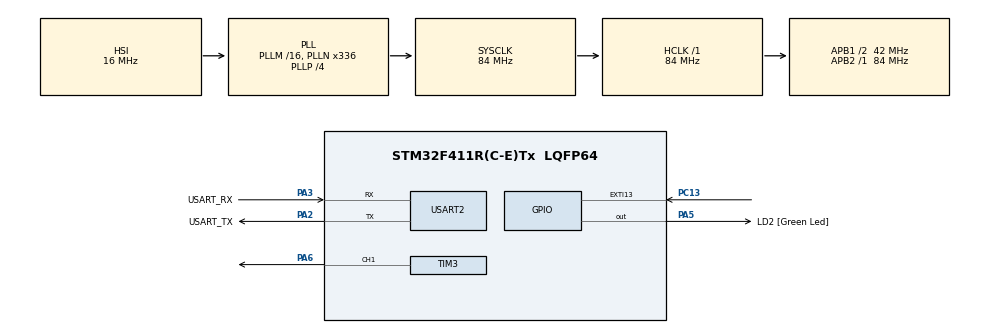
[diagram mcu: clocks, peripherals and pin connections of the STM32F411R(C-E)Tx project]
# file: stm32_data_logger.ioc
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ADC1.Channel-1\#ChannelRegularConversion=ADC_CHANNEL_TEMPSENSOR
ADC1.ExternalTrigConv=ADC_EXTERNALTRIGCONV_T2_TRGO
ADC1.NbrOfConversionFlag=1
ADC1.Rank-1\#ChannelRegularConversion=1
ADC1.SamplingTime-1\#ChannelRegularConversion=ADC_SAMPLETIME_480CYCLES
ADC1.master=1
Mcu.Family=STM32F4
Mcu.Name=STM32F411R(C-E)Tx
Mcu.Package=LQFP64
NVIC.PriorityGroup=NVIC_PRIORITYGROUP_0
PA13.GPIO_Label=TMS
PA13.Mode=Serial_Wire
PA13.Signal=SYS_JTMS-SWDIO
PA14.GPIO_Label=TCK
PA14.Mode=Serial_Wire
PA14.Signal=SYS_JTCK-SWCLK
PA2.GPIO_Label=USART_TX
PA2.Mode=Asynchronous
PA2.Signal=USART2_TX
PA3.GPIO_Label=USART_RX
PA3.Mode=Asynchronous
PA3.Signal=USART2_RX
PA5.GPIO_Label=LD2 [Green Led]
PA5.Signal=GPIO_Output
PA6.Signal=S_TIM3_CH1
PB3.GPIO_Label=SWO
PB3.Signal=SYS_JTDO-SWO
PC13-ANTI_TAMP.GPIO_ModeDefaultEXTI=GPIO_MODE_IT_FALLING
PC13-ANTI_TAMP.Signal=GPXTI13
PC14-OSC32_IN.Mode=LSE-External-Oscillator
PC14-OSC32_IN.Signal=RCC_OSC32_IN
PC15-OSC32_OUT.Mode=LSE-External-Oscillator
PC15-OSC32_OUT.Signal=RCC_OSC32_OUT
PH0\ -\ OSC_IN.Mode=HSE-External-Clock-Source
PH0\ -\ OSC_IN.Signal=RCC_OSC_IN
PH1\ -\ OSC_OUT.Mode=HSE-External-Clock-Source
PH1\ -\ OSC_OUT.Signal=RCC_OSC_OUT
ProjectManager.HeapSize=0x200
ProjectManager.StackSize=0x400
ProjectManager.TargetToolchain=STM32CubeIDE
RCC.48MHZClocksFreq_Value=84000000
RCC.AHBFreq_Value=84000000
RCC.APB1CLKDivider=RCC_HCLK_DIV2
RCC.APB1Freq_Value=42000000
RCC.APB1TimFreq_Value=84000000
RCC.APB2Freq_Value=84000000
RCC.APB2TimFreq_Value=84000000
RCC.CortexFreq_Value=84000000
RCC.FLatency-AdvancedSettings=FLASH_LATENCY_2
RCC.HCLKFreq_Value=84000000
RCC.HSE_VALUE=8000000
RCC.HSI_VALUE=16000000
RCC.PLLN=336
RCC.PLLP=RCC_PLLP_DIV4
RCC.SYSCLKFreq_VALUE=84000000
RCC.SYSCLKSource=RCC_SYSCLKSOURCE_PLLCLK
RCC.VCOOutputFreq_Value=336000000
SH.S_TIM3_CH1.0=TIM3_CH1,PWM Generation1 CH1
TIM2.Period=999
TIM2.Prescaler=8399
TIM2.TIM_MasterOutputTrigger=TIM_TRGO_UPDATE
TIM3.Channel-PWM\ Generation1\ CH1=TIM_CHANNEL_1
TIM3.Period=999
TIM3.Prescaler=83
USART2.VirtualMode=VM_ASYNC
VP_ADC1_TempSens_Input.Mode=IN-TempSens
VP_ADC1_Vref_Input.Mode=IN-Vrefint
VP_TIM2_VS_ClockSourceINT.Mode=Internal
board=NUCLEO-F411RE

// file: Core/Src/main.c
/* USER CODE BEGIN Header */
/**
  ******************************************************************************
  * @file           : main.c
  * @brief          : Main program body
  ******************************************************************************
  * @attention
  *
  * Copyright (c) 2026 STMicroelectronics.
  * All rights reserved.
  *
  * This software is licensed under terms that can be found in the LICENSE file
  * in the root directory of this software component.
  * If no LICENSE file comes with this software, it is provided AS-IS.
  *
  ******************************************************************************
  */
/* USER CODE END Header */
#include "main.h"

/* USER CODE BEGIN Includes */
#include<stdio.h>
#include<string.h>
/* USER CODE END Includes */

ADC_HandleTypeDef hadc1;

TIM_HandleTypeDef htim2;
TIM_HandleTypeDef htim3;

UART_HandleTypeDef huart2;

/* USER CODE BEGIN PV */
#define WINDOW_SIZE 8

volatile uint16_t adc_buffer[WINDOW_SIZE];
volatile uint8_t  buffer_index            = 0;
volatile uint8_t  buffer_full             = 0;   // becomes 1 once we've wrapped around once
volatile uint8_t  new_sample_ready        = 0;
volatile uint8_t  paused                  = 0;           // 0 = running, 1 = paused
volatile uint32_t last_press_time         = 0;  // remembers when we last accepted a press
volatile uint32_t sum                     = 0;
#define DEBOUNCE_MS 80
/* USER CODE END PV */

void SystemClock_Config(void);
static void MX_GPIO_Init(void);
static void MX_ADC1_Init(void);
static void MX_TIM2_Init(void);
static void MX_USART2_UART_Init(void);
static void MX_TIM3_Init(void);

int main(void)
{

  /* MCU Configuration--------------------------------------------------------*/

  /* Reset of all peripherals, Initializes the Flash interface and the Systick. */
  HAL_Init();

  /* Configure the system clock */
  SystemClock_Config();

  /* Initialize all configured peripherals */
  MX_GPIO_Init();
  MX_ADC1_Init();
  MX_TIM2_Init();
  MX_USART2_UART_Init();
  MX_TIM3_Init();
  /* USER CODE BEGIN 2 */
  ADC->CCR |= ADC_CCR_TSVREFE;     // to power up the temperature sensor from power-down mode
  HAL_TIM_Base_Start(&htim2);      // start TIM2 counting
  HAL_ADC_Start_IT(&hadc1);        // ADC conversion on trigger from TIM2
  HAL_TIM_PWM_Start(&htim3, TIM_CHANNEL_1); // start PWM output on TIM3 CH1
  /* USER CODE END 2 */

  /* Infinite loop */
  while (1)
  {

    /* USER CODE BEGIN 3 */
	  if (new_sample_ready)
	      {
	          new_sample_ready = 0;

	          if (!paused)      // if PC13 pressed not pressed
	          {

	              uint8_t count = 0;

	              if (buffer_full)
	              {
	                  count = WINDOW_SIZE;
	              }
	              else
	              {
	                  count = buffer_index; // if the buffer has not yet received at least 8 values in the beginning
	              }

	              uint16_t filtered_value = sum / count;

	              // PWM DUTY CYCLE
	              uint16_t ccr_value = ((uint32_t)filtered_value * 999) / 4095; // to compute the capture compare  value
	              __HAL_TIM_SET_COMPARE(&htim3, TIM_CHANNEL_1, ccr_value); // write the ccr_value into the Capture/Compre register in TIM3
	              uint16_t pwm_percentage =((uint32_t) ccr_value *100)/ (999+1); // duty% = CCR*100 /(ARR+1);

	              // UART TRANSMISSION
	              char uart_msg[64];
	              sprintf(uart_msg, "Filtered: %u,CCR:%u, PWM: %u%%\r\n", filtered_value, ccr_value,pwm_percentage );
	              HAL_UART_Transmit(&huart2, (uint8_t*)uart_msg, strlen(uart_msg), HAL_MAX_DELAY);
	          }
	      }

  }
  /* USER CODE END 3 */
}

void SystemClock_Config(void)
{
  RCC_OscInitTypeDef RCC_OscInitStruct = {0};
  RCC_ClkInitTypeDef RCC_ClkInitStruct = {0};

  /** Configure the main internal regulator output voltage
  */
  __HAL_RCC_PWR_CLK_ENABLE();
  __HAL_PWR_VOLTAGESCALING_CONFIG(PWR_REGULATOR_VOLTAGE_SCALE1);

  /** Initializes the RCC Oscillators according to the specified parameters
  * in the RCC_OscInitTypeDef structure.
  */
  RCC_OscInitStruct.OscillatorType = RCC_OSCILLATORTYPE_HSI;
  RCC_OscInitStruct.HSIState = RCC_HSI_ON;
  RCC_OscInitStruct.HSICalibrationValue = RCC_HSICALIBRATION_DEFAULT;
  RCC_OscInitStruct.PLL.PLLState = RCC_PLL_ON;
  RCC_OscInitStruct.PLL.PLLSource = RCC_PLLSOURCE_HSI;
  RCC_OscInitStruct.PLL.PLLM = 16;
  RCC_OscInitStruct.PLL.PLLN = 336;
  RCC_OscInitStruct.PLL.PLLP = RCC_PLLP_DIV4;
  RCC_OscInitStruct.PLL.PLLQ = 4;
  if (HAL_RCC_OscConfig(&RCC_OscInitStruct) != HAL_OK)
  {
    Error_Handler();
  }

  /** Initializes the CPU, AHB and APB buses clocks
  */
  RCC_ClkInitStruct.ClockType = RCC_CLOCKTYPE_HCLK|RCC_CLOCKTYPE_SYSCLK
                              |RCC_CLOCKTYPE_PCLK1|RCC_CLOCKTYPE_PCLK2;
  RCC_ClkInitStruct.SYSCLKSource = RCC_SYSCLKSOURCE_PLLCLK;
  RCC_ClkInitStruct.AHBCLKDivider = RCC_SYSCLK_DIV1;
  RCC_ClkInitStruct.APB1CLKDivider = RCC_HCLK_DIV2;
  RCC_ClkInitStruct.APB2CLKDivider = RCC_HCLK_DIV1;

  if (HAL_RCC_ClockConfig(&RCC_ClkInitStruct, FLASH_LATENCY_2) != HAL_OK)
  {
    Error_Handler();
  }
}

static void MX_ADC1_Init(void)
{

  ADC_ChannelConfTypeDef sConfig = {0};

  /** Configure the global features of the ADC (Clock, Resolution, Data Alignment and number of conversion)
  */
  hadc1.Instance = ADC1;
  hadc1.Init.ClockPrescaler = ADC_CLOCK_SYNC_PCLK_DIV4;
  hadc1.Init.Resolution = ADC_RESOLUTION_12B;
  hadc1.Init.ScanConvMode = DISABLE;
  hadc1.Init.ContinuousConvMode = DISABLE;
  hadc1.Init.DiscontinuousConvMode = DISABLE;
  hadc1.Init.ExternalTrigConvEdge = ADC_EXTERNALTRIGCONVEDGE_RISING;
  hadc1.Init.ExternalTrigConv = ADC_EXTERNALTRIGCONV_T2_TRGO;
  hadc1.Init.DataAlign = ADC_DATAALIGN_RIGHT;
  hadc1.Init.NbrOfConversion = 1;
  hadc1.Init.DMAContinuousRequests = DISABLE;
  hadc1.Init.EOCSelection = ADC_EOC_SINGLE_CONV;
  if (HAL_ADC_Init(&hadc1) != HAL_OK)
  {
    Error_Handler();
  }

  /** Configure for the selected ADC regular channel its corresponding rank in the sequencer and its sample time.
  */
  sConfig.Channel = ADC_CHANNEL_TEMPSENSOR;
  sConfig.Rank = 1;
  sConfig.SamplingTime = ADC_SAMPLETIME_480CYCLES;    //480 cycles so that there is enough sampling time for the temperature sensor
  if (HAL_ADC_ConfigChannel(&hadc1, &sConfig) != HAL_OK)
  {
    Error_Handler();
  }

}

static void MX_TIM2_Init(void)
{

  TIM_ClockConfigTypeDef sClockSourceConfig = {0};
  TIM_MasterConfigTypeDef sMasterConfig = {0};

  htim2.Instance = TIM2;
  htim2.Init.Prescaler = 8399;
  htim2.Init.CounterMode = TIM_COUNTERMODE_UP;
  htim2.Init.Period = 999;
  htim2.Init.ClockDivision = TIM_CLOCKDIVISION_DIV1;
  htim2.Init.AutoReloadPreload = TIM_AUTORELOAD_PRELOAD_DISABLE;
  if (HAL_TIM_Base_Init(&htim2) != HAL_OK)
  {
    Error_Handler();
  }
  sClockSourceConfig.ClockSource = TIM_CLOCKSOURCE_INTERNAL;
  if (HAL_TIM_ConfigClockSource(&htim2, &sClockSourceConfig) != HAL_OK)
  {
    Error_Handler();
  }
  sMasterConfig.MasterOutputTrigger = TIM_TRGO_UPDATE;
  sMasterConfig.MasterSlaveMode = TIM_MASTERSLAVEMODE_DISABLE;
  if (HAL_TIMEx_MasterConfigSynchronization(&htim2, &sMasterConfig) != HAL_OK)
  {
    Error_Handler();
  }

}

static void MX_TIM3_Init(void)
{

  TIM_MasterConfigTypeDef sMasterConfig = {0};
  TIM_OC_InitTypeDef sConfigOC = {0};

  htim3.Instance = TIM3;
  htim3.Init.Prescaler = 83;
  htim3.Init.CounterMode = TIM_COUNTERMODE_UP;
  htim3.Init.Period = 999;
  htim3.Init.ClockDivision = TIM_CLOCKDIVISION_DIV1;
  htim3.Init.AutoReloadPreload = TIM_AUTORELOAD_PRELOAD_DISABLE;
  if (HAL_TIM_PWM_Init(&htim3) != HAL_OK)
  {
    Error_Handler();
  }
  sMasterConfig.MasterOutputTrigger = TIM_TRGO_RESET;
  sMasterConfig.MasterSlaveMode = TIM_MASTERSLAVEMODE_DISABLE;
  if (HAL_TIMEx_MasterConfigSynchronization(&htim3, &sMasterConfig) != HAL_OK)
  {
    Error_Handler();
  }
  sConfigOC.OCMode = TIM_OCMODE_PWM1;
  sConfigOC.Pulse = 0;
  sConfigOC.OCPolarity = TIM_OCPOLARITY_HIGH;
  sConfigOC.OCFastMode = TIM_OCFAST_DISABLE;
  if (HAL_TIM_PWM_ConfigChannel(&htim3, &sConfigOC, TIM_CHANNEL_1) != HAL_OK)
  {
    Error_Handler();
  }
  HAL_TIM_MspPostInit(&htim3);

}

static void MX_USART2_UART_Init(void)
{

  huart2.Instance = USART2;
  huart2.Init.BaudRate = 115200;
  huart2.Init.WordLength = UART_WORDLENGTH_8B;
  huart2.Init.StopBits = UART_STOPBITS_1;
  huart2.Init.Parity = UART_PARITY_NONE;
  huart2.Init.Mode = UART_MODE_TX_RX;
  huart2.Init.HwFlowCtl = UART_HWCONTROL_NONE;
  huart2.Init.OverSampling = UART_OVERSAMPLING_16;
  if (HAL_UART_Init(&huart2) != HAL_OK)
  {
    Error_Handler();
  }

}

static void MX_GPIO_Init(void)
{
  GPIO_InitTypeDef GPIO_InitStruct = {0};

  /* GPIO Ports Clock Enable */
  __HAL_RCC_GPIOC_CLK_ENABLE();
  __HAL_RCC_GPIOH_CLK_ENABLE();
  __HAL_RCC_GPIOA_CLK_ENABLE();
  __HAL_RCC_GPIOB_CLK_ENABLE();

  /*Configure GPIO pin Output Level */
  HAL_GPIO_WritePin(LD2_GPIO_Port, LD2_Pin, GPIO_PIN_RESET);

  /*Configure GPIO pin : PC13 */
  GPIO_InitStruct.Pin = GPIO_PIN_13;
  GPIO_InitStruct.Mode = GPIO_MODE_IT_FALLING;
  GPIO_InitStruct.Pull = GPIO_NOPULL;
  HAL_GPIO_Init(GPIOC, &GPIO_InitStruct);

  /*Configure GPIO pin : LD2_Pin */
  GPIO_InitStruct.Pin = LD2_Pin;
  GPIO_InitStruct.Mode = GPIO_MODE_OUTPUT_PP;
  GPIO_InitStruct.Pull = GPIO_NOPULL;
  GPIO_InitStruct.Speed = GPIO_SPEED_FREQ_LOW;
  HAL_GPIO_Init(LD2_GPIO_Port, &GPIO_InitStruct);

}

/* USER CODE BEGIN 4 */
void HAL_ADC_ConvCpltCallback(ADC_HandleTypeDef *hadc)
{
    uint16_t sample = HAL_ADC_GetValue(&hadc1);   // read the converted 12-bit result out of ADC1's data register
    sum -=adc_buffer[buffer_index];
    adc_buffer[buffer_index] = sample;            // store it at the current circular-buffer slot
    sum += sample;
    buffer_index++;  // advance to next slot
    if (buffer_index >= WINDOW_SIZE)
    {
        buffer_index = 0;                          // wrap around
        buffer_full = 1;                         // we've now completed at least one full lap
    }

    new_sample_ready = 1;							// tell main new data available
}

void  HAL_GPIO_EXTI_Callback(uint16_t GPIO_Pin){
	if(GPIO_Pin == GPIO_PIN_13){ // external interrupt
		uint32_t current_press_time = HAL_GetTick();
		if ((current_press_time - last_press_time) > DEBOUNCE_MS)
		        {
		            paused = !paused;
		            last_press_time = current_press_time;
		        }

	}
}
/* USER CODE END 4 */

void Error_Handler(void)
{
  __disable_irq();
  while (1)
  {
  }
}
